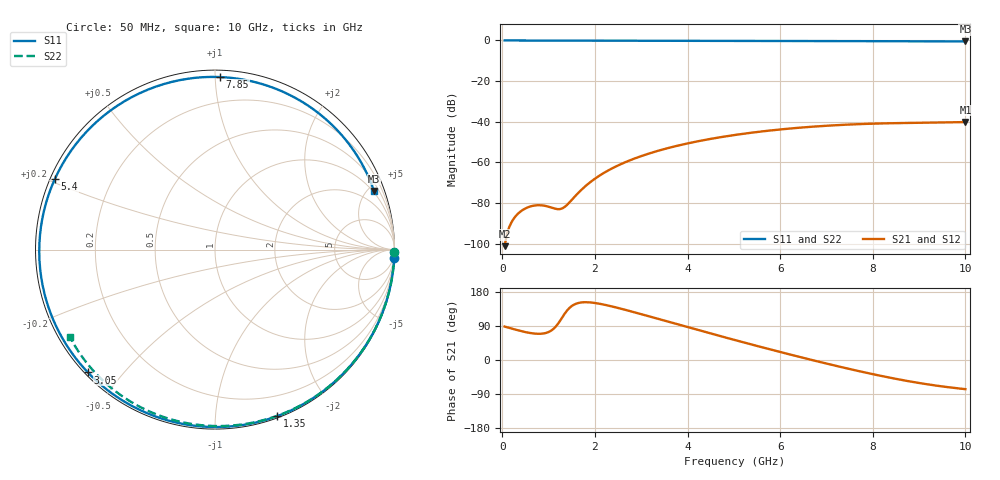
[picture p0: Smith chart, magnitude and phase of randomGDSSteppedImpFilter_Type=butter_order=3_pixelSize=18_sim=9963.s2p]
! freq	dB(S11)	phase(S11)	dB(S12)	phase(S12)
!  dB(S21)	phase(S21)	dB(S22)	phase(S22)
!S-par simulation data
#  GHz  S  DB  R 50
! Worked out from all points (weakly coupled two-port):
!   200 points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, 50 MHz to 10 GHz, reference 50 ohm
!   highest |S21| = -40.14 dB at 10 GHz (marker M1); lowest = -101.2 dB at 50 MHz (marker M2)
!   lowest |S11| = -0.5 dB at 10 GHz (marker M3), VSWR 34.79, Z = 45.6 + j273 ohm
!   |S11| at or under -10 dB: nowhere
!   |S22| runs from -0.5 to 0.0 dB; largest |S21 - S12| = 0
!   S11 on the Smith chart (normalised r, x): 50 MHz: 0, -41; 1.35 GHz: 0.01, -1.44; 3.05 GHz: 0.01, -0.40; 5.4 GHz: 0.01, +0.21; 7.85 GHz: 0.04, +1.03; 10 GHz: 0.91, +5.47
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0.05  -0.00 -2.8  -101.20 88.2  -101.20 88.2  -0.00 -0.9
0.4  -0.03 -21.8  -84.04 76.6  -84.04 76.6  -0.01 -6.9
0.75  -0.05 -40.2  -81.08 69.3  -81.08 69.3  -0.02 -12.9
1.05  -0.07 -55.3  -82.13 77.0  -82.13 77.0  -0.02 -18.0
1.35  -0.08 -69.6  -81.85 122.7  -81.85 122.7  -0.03 -23.1
1.45  -0.09 -74.2  -79.69 137.4  -79.69 137.4  -0.03 -24.7
1.75  -0.10 -87.5  -72.59 152.3  -72.59 152.3  -0.04 -29.8
2  -0.11 -97.8  -68.02 150.4  -68.02 150.4  -0.04 -33.9
2.3  -0.11 -109.6  -63.79 143.3  -63.79 143.3  -0.05 -38.8
3.05  -0.13 -136.0  -56.51 119.3  -56.51 119.3  -0.07 -51.0
3.4  -0.14 -147.2  -54.05 107.3  -54.05 107.3  -0.08 -56.5
4.2  -0.17 -170.8  -49.71 80.1  -49.71 80.1  -0.10 -68.9
5.05  -0.20 165.8  -46.41 51.8  -46.41 51.8  -0.13 -81.5
5.4  -0.22 156.3  -45.33 40.3  -45.33 40.3  -0.14 -86.6
6.05  -0.25 138.9  -43.68 19.6  -43.68 19.6  -0.17 -95.9
6.7  -0.28 121.2  -42.42 -0.4  -42.42 -0.4  -0.20 -104.9
7.3  -0.31 104.3  -41.58 -18.1  -41.58 -18.1  -0.24 -113.1
7.85  -0.34 88.3  -41.04 -33.4  -41.04 -33.4  -0.28 -120.4
8.35  -0.37 73.2  -40.74 -46.2  -40.74 -46.2  -0.33 -127.1
9.15  -0.42 48.1  -40.48 -63.6  -40.48 -63.6  -0.41 -137.6
9.6  -0.46 33.4  -40.35 -71.3  -40.35 -71.3  -0.46 -143.6
10  -0.50 20.2  -40.14 -76.9  -40.14 -76.9  -0.50 -148.9
